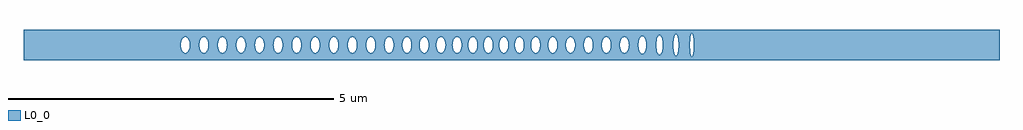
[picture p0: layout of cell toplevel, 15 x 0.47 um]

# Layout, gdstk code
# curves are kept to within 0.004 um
import gdstk
lib = gdstk.Library(unit=1e-6, precision=1e-09)
def P(c, l, *ps):  # polygons
    for p in ps: c.add(gdstk.Polygon(p, *l))
L0_0 = (0, 0)

toplevel = lib.new_cell('toplevel')
P(toplevel, L0_0, [(-4.491,-0.235),(-4.491,-0.09),(-4.505,-0.06),(-4.513,-0.016),(-4.507,0.053),(-4.491,0.09),(-4.491,0.235),(-7.5,0.235),(-7.5,-0.008),(-5.084,-0.008),(-5.081,0.038),(-5.071,0.073),(-5.044,0.112),(-5.018,0.124),(-4.992,0.118),(-4.962,0.085),(-4.948,0.046),(-4.943,-0.008),(-4.799,-0.008),(-4.794,0.046),(-4.783,0.079),(-4.762,0.109),(-4.733,0.124),(-4.706,0.118),(-4.683,0.096),(-4.666,0.06),(-4.658,0.016),(-4.661,-0.038),(-4.671,-0.073),(-4.694,-0.109),(-4.724,-0.124),(-4.75,-0.118),(-4.773,-0.096),(-4.79,-0.06),(-4.799,-0.008),(-4.943,-0.008),(-4.948,-0.046),(-4.962,-0.085),(-4.98,-0.109),(-5.009,-0.124),(-5.035,-0.118),(-5.062,-0.09),(-5.079,-0.046),(-5.084,-0.008),(-7.5,-0.008),(-7.5,-0.235)],
  [(-3.942,0.016),(-3.932,0.066),(-3.91,0.105),(-3.877,0.124),(-3.851,0.118),(-3.851,0.235),(-4.491,0.235),(-4.491,0.09),(-4.477,0.109),(-4.452,0.123),(-4.43,0.122),(-4.409,0.109),(-4.381,0.06),(-4.373,-0.016),(-4.228,-0.016),(-4.225,0.038),(-4.215,0.073),(-4.192,0.109),(-4.162,0.124),(-4.136,0.118),(-4.109,0.09),(-4.092,0.046),(-4.087,0.008),(-4.089,-0.031),(-4.103,-0.079),(-4.124,-0.109),(-4.153,-0.124),(-4.179,-0.118),(-4.203,-0.096),(-4.215,-0.073),(-4.228,-0.016),(-4.373,-0.016),(-4.386,-0.073),(-4.398,-0.096),(-4.421,-0.118),(-4.456,-0.122),(-4.477,-0.109),(-4.491,-0.09),(-4.491,-0.235),(-3.851,-0.235),(-3.851,-0.118),(-3.868,-0.124),(-3.886,-0.122),(-3.917,-0.096),(-3.938,-0.046)],
  [(-3.803,-0.023),(-3.821,-0.085),(-3.851,-0.118),(-3.851,-0.235),(-3.235,-0.235),(-3.235,-0.041),(-3.247,-0.079),(-3.264,-0.105),(-3.284,-0.12),(-3.306,-0.124),(-3.324,-0.118),(-3.347,-0.096),(-3.364,-0.06),(-3.372,-0.016),(-3.369,0.038),(-3.359,0.073),(-3.34,0.105),(-3.315,0.122),(-3.289,0.122),(-3.264,0.105),(-3.247,0.079),(-3.235,0.038),(-3.235,0.235),(-3.851,0.235),(-3.851,0.118),(-3.827,0.096),(-3.815,0.073),(-3.802,0),(-3.658,0),(-3.653,0.046),(-3.638,0.085),(-3.621,0.109),(-3.591,0.124),(-3.565,0.118),(-3.549,0.105),(-3.53,0.073),(-3.52,0.038),(-3.517,-0.016),(-3.525,-0.06),(-3.549,-0.105),(-3.578,-0.123),(-3.605,-0.12),(-3.632,-0.096),(-3.653,-0.046),(-3.658,0),(-3.802,0)],
  [(-3.233,-0.023),(-3.235,-0.235),(-2.51,-0.235),(-2.51,-0.053),(-2.516,-0.016),(-2.51,0.051),(-2.51,0.235),(-3.235,0.235),(-3.231,-0.008),(-3.087,-0.008),(-3.085,0.031),(-3.071,0.079),(-3.05,0.109),(-3.021,0.124),(-2.986,0.112),(-2.965,0.085),(-2.949,0.038),(-2.946,-0.008),(-2.802,-0.008),(-2.797,0.046),(-2.776,0.096),(-2.744,0.122),(-2.709,0.118),(-2.686,0.096),(-2.669,0.06),(-2.661,-0.016),(-2.667,-0.053),(-2.68,-0.085),(-2.697,-0.109),(-2.718,-0.122),(-2.749,-0.12),(-2.776,-0.096),(-2.793,-0.06),(-2.802,-0.008),(-2.946,-0.008),(-2.949,-0.038),(-2.965,-0.085),(-2.986,-0.112),(-3.012,-0.124),(-3.038,-0.118),(-3.065,-0.09),(-3.078,-0.061),(-3.087,-0.008),(-3.231,-0.008)],
  [(-1.951,0.016),(-1.943,0.06),(-1.926,0.096),(-1.903,0.118),(-1.886,0.124),(-1.886,0.235),(-2.51,0.235),(-2.51,0.053),(-2.484,0.105),(-2.459,0.122),(-2.441,0.124),(-2.412,0.109),(-2.389,0.073),(-2.38,0.046),(-2.376,-0.016),(-2.232,-0.016),(-2.229,0.038),(-2.213,0.085),(-2.188,0.115),(-2.157,0.124),(-2.128,0.109),(-2.11,0.085),(-2.096,0.046),(-2.091,0.008),(-2.093,-0.031),(-2.107,-0.079),(-2.128,-0.109),(-2.157,-0.124),(-2.183,-0.118),(-2.207,-0.096),(-2.219,-0.073),(-2.232,-0.016),(-2.376,-0.016),(-2.384,-0.06),(-2.401,-0.096),(-2.424,-0.118),(-2.441,-0.124),(-2.459,-0.122),(-2.484,-0.105),(-2.51,-0.053),(-2.51,-0.235),(-1.886,-0.235),(-1.886,-0.124),(-1.915,-0.109),(-1.938,-0.073),(-1.947,-0.046)],
  [(-1.812,-0.023),(-1.819,-0.06),(-1.836,-0.096),(-1.859,-0.118),(-1.886,-0.124),(-1.886,-0.235),(-1.285,-0.235),(-1.285,-0.073),(-1.3,-0.1),(-1.32,-0.118),(-1.337,-0.124),(-1.363,-0.118),(-1.379,-0.105),(-1.399,-0.073),(-1.412,-0.008),(-1.409,0.038),(-1.399,0.073),(-1.383,0.1),(-1.363,0.118),(-1.346,0.124),(-1.32,0.118),(-1.3,0.1),(-1.285,0.073),(-1.285,0.235),(-1.886,0.235),(-1.886,0.124),(-1.859,0.118),(-1.836,0.096),(-1.817,0.053),(-1.811,-0.008),(-1.678,-0.008),(-1.673,0.046),(-1.659,0.085),(-1.641,0.109),(-1.62,0.122),(-1.594,0.122),(-1.573,0.109),(-1.545,0.06),(-1.537,0.016),(-1.543,-0.053),(-1.562,-0.096),(-1.594,-0.122),(-1.625,-0.12),(-1.652,-0.096),(-1.669,-0.06),(-1.678,-0.008),(-1.811,-0.008)],
  [(-0.664,-0.016),(-0.663,0.235),(-1.285,0.235),(-1.285,0.073),(-1.273,0.031),(-1.272,-0.016),(-1.155,-0.016),(-1.152,0.038),(-1.142,0.073),(-1.119,0.109),(-1.089,0.124),(-1.063,0.118),(-1.036,0.09),(-1.019,0.046),(-1.014,0),(-0.907,0),(-0.902,0.046),(-0.887,0.085),(-0.87,0.109),(-0.841,0.124),(-0.814,0.118),(-0.791,0.096),(-0.774,0.06),(-0.766,0.016),(-0.769,-0.038),(-0.779,-0.073),(-0.802,-0.109),(-0.832,-0.124),(-0.858,-0.118),(-0.881,-0.096),(-0.902,-0.046),(-0.907,0),(-1.014,0),(-1.019,-0.046),(-1.033,-0.085),(-1.051,-0.109),(-1.08,-0.124),(-1.106,-0.118),(-1.13,-0.096),(-1.142,-0.073),(-1.155,-0.016),(-1.272,-0.016),(-1.285,-0.073),(-1.285,-0.235),(-0.663,-0.235)],
  [(-0.187,0.031),(-0.17,0.085),(-0.14,0.118),(-0.14,0.235),(-0.663,0.235),(-0.663,0.023),(-0.656,0.06),(-0.639,0.096),(-0.616,0.118),(-0.59,0.124),(-0.56,0.109),(-0.537,0.073),(-0.527,0.038),(-0.524,-0.016),(-0.426,-0.016),(-0.423,0.038),(-0.407,0.085),(-0.378,0.118),(-0.351,0.124),(-0.322,0.109),(-0.304,0.085),(-0.29,0.046),(-0.285,0),(-0.29,-0.046),(-0.304,-0.085),(-0.322,-0.109),(-0.351,-0.124),(-0.378,-0.118),(-0.401,-0.096),(-0.418,-0.06),(-0.426,-0.016),(-0.524,-0.016),(-0.532,-0.06),(-0.549,-0.096),(-0.572,-0.118),(-0.59,-0.124),(-0.616,-0.118),(-0.639,-0.096),(-0.654,-0.066),(-0.663,-0.026),(-0.663,-0.235),(-0.14,-0.235),(-0.14,-0.118),(-0.164,-0.096),(-0.176,-0.073),(-0.189,-0.016)],
  [(-0.127,0.123),(-0.097,0.118),(-0.07,0.09),(-0.053,0.046),(-0.048,-0.008),(0.051,-0.008),(0.056,0.046),(0.073,0.09),(0.1,0.118),(0.117,0.124),(0.135,0.122),(0.156,0.109),(0.179,0.073),(0.189,0.038),(0.192,-0.008),(0.189,-0.038),(0.173,-0.085),(0.156,-0.109),(0.126,-0.124),(0.1,-0.118),(0.073,-0.09),(0.056,-0.046),(0.051,-0.008),(-0.048,-0.008),(-0.059,-0.066),(-0.081,-0.105),(-0.114,-0.124),(-0.14,-0.118),(-0.14,-0.235),(0.423,-0.235),(0.423,-0.085),(0.405,-0.109),(0.385,-0.122),(0.367,-0.124),(0.35,-0.118),(0.326,-0.096),(0.314,-0.073),(0.301,-0.016),(0.31,0.06),(0.337,0.109),(0.358,0.122),(0.385,0.122),(0.405,0.109),(0.423,0.085),(0.423,0.235),(-0.14,0.235),(-0.14,0.118)],
  [(1.111,-0.008),(1.112,0.235),(0.423,0.235),(0.423,0.085),(0.44,0.031),(0.441,-0.016),(0.564,-0.016),(0.567,0.038),(0.577,0.073),(0.6,0.109),(0.63,0.124),(0.656,0.118),(0.679,0.096),(0.7,0.046),(0.704,-0.008),(0.836,-0.008),(0.839,0.038),(0.849,0.073),(0.876,0.112),(0.902,0.124),(0.928,0.118),(0.955,0.09),(0.972,0.046),(0.977,0.008),(0.975,-0.031),(0.961,-0.079),(0.94,-0.109),(0.911,-0.124),(0.885,-0.118),(0.858,-0.09),(0.841,-0.046),(0.836,-0.008),(0.704,-0.008),(0.7,-0.046),(0.679,-0.096),(0.656,-0.118),(0.639,-0.124),(0.612,-0.118),(0.589,-0.096),(0.572,-0.06),(0.564,-0.016),(0.441,-0.016),(0.423,-0.085),(0.423,-0.235),(1.112,-0.235)],
  [(1.666,0.023),(1.673,0.06),(1.694,0.1),(1.694,0.235),(1.112,0.235),(1.112,0.016),(1.12,0.06),(1.137,0.096),(1.16,0.118),(1.186,0.124),(1.216,0.109),(1.239,0.073),(1.249,0.038),(1.252,-0.016),(1.387,-0.016),(1.39,0.038),(1.406,0.085),(1.435,0.118),(1.461,0.124),(1.491,0.109),(1.508,0.085),(1.523,0.046),(1.528,0),(1.523,-0.046),(1.508,-0.085),(1.491,-0.109),(1.461,-0.124),(1.435,-0.118),(1.412,-0.096),(1.395,-0.06),(1.387,-0.016),(1.252,-0.016),(1.244,-0.06),(1.22,-0.105),(1.195,-0.122),(1.169,-0.122),(1.148,-0.109),(1.13,-0.085),(1.112,-0.019),(1.112,-0.235),(1.694,-0.235),(1.694,-0.1),(1.671,-0.053)],
  [(1.701,0.109),(1.722,0.122),(1.74,0.124),(1.773,0.105),(1.787,0.085),(1.801,0.046),(1.805,-0.009),(1.95,-0.009),(1.953,0.043),(1.969,0.101),(1.999,0.136),(2.022,0.136),(2.043,0.117),(2.06,0.081),(2.071,-0.017),(2.066,-0.059),(2.052,-0.101),(2.03,-0.131),(2.007,-0.138),(1.985,-0.125),(1.969,-0.101),(1.956,-0.059),(1.95,-0.009),(1.805,-0.009),(1.795,-0.066),(1.769,-0.109),(1.748,-0.122),(1.731,-0.124),(1.713,-0.118),(1.694,-0.1),(1.694,-0.235),(2.291,-0.235),(2.291,-0.145),(2.269,-0.151),(2.245,-0.123),(2.229,-0.065),(2.224,-0.01),(2.229,0.065),(2.245,0.123),(2.269,0.151),(2.291,0.145),(2.291,0.235),(1.694,0.235),(1.694,0.1)],
  [(2.324,-0.038),(2.31,-0.111),(2.291,-0.145),(2.291,-0.235),(7.5,-0.235),(7.5,0.235),(2.291,0.235),(2.291,0.145),(2.305,0.123),(2.318,0.081),(2.325,-0.021),(2.487,-0.021),(2.496,0.106),(2.51,0.15),(2.525,0.166),(2.543,0.154),(2.556,0.121),(2.566,0.061),(2.568,-0.023),(2.742,-0.023),(2.748,0.106),(2.763,0.171),(2.771,0.18),(2.781,0.174),(2.797,0.115),(2.804,0.023),(2.802,-0.066),(2.793,-0.139),(2.775,-0.18),(2.763,-0.171),(2.753,-0.139),(2.742,-0.023),(2.568,-0.023),(2.556,-0.121),(2.543,-0.154),(2.53,-0.166),(2.515,-0.158),(2.502,-0.128),(2.487,-0.021),(2.325,-0.021)])

lib.write_gds('toplevel.gds')
